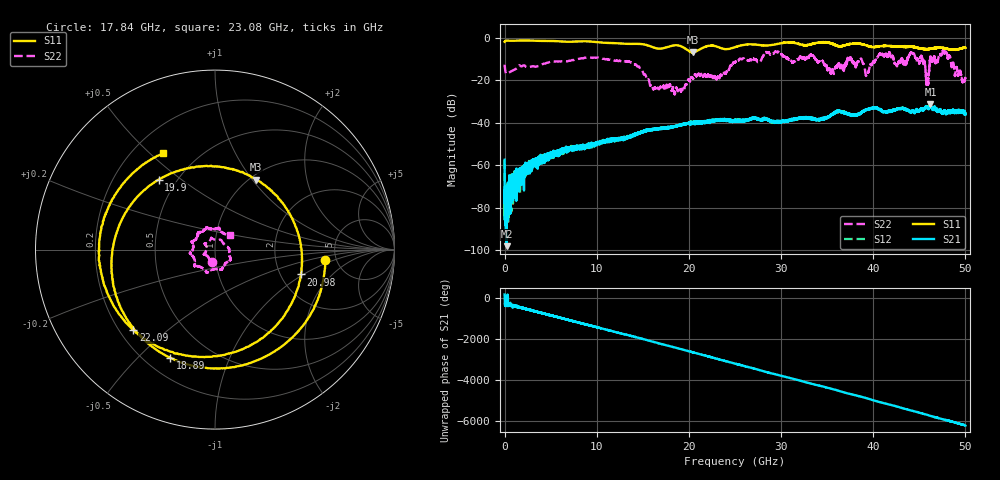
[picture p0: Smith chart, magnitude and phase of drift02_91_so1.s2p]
!Created with skrf (http://scikit-rf.org).
# Hz S RI R 50.0
!freq ReS11 ImS11 ReS21 ImS21 ReS12 ImS12 ReS22 ImS22
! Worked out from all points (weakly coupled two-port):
!   10001 points, 300 kHz to 50 GHz, reference 50 ohm
!   highest |S21| = -31.32 dB at 46.21 GHz (marker M1); lowest = -98.0 dB at 220.3 MHz (marker M2)
!   lowest |S11| = -6.9 dB at 20.4 GHz (marker M3), VSWR 2.65, Z = 53.3 + j52.2 ohm
!   |S11| at or under -10 dB: nowhere
!   |S22| runs from -26.7 to -6.0 dB; largest |S21 - S12| = 0.0031
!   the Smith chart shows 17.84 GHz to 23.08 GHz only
!   S11 on the Smith chart (normalised r, x): 17.84 GHz: 4.08, -0.76; 18.89 GHz: 0.30, -0.62; 19.9 GHz: 0.40, +0.41; 20.98 GHz: 2.58, -0.95; 22.09 GHz: 0.26, -0.39; 23.08 GHz: 0.32, +0.55
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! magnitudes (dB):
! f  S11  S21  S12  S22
! 300 kHz  -2.0  -57.4  -57.7  -12.7
! 220.3 MHz  -1.4  -98.0  -70.2  -17.0
! 3.145 GHz  -1.4  -60.4  -59.3  -13.4
! 8.335 GHz  -1.7  -51.9  -52.1  -9.7
! 13.71 GHz  -2.9  -46.1  -46.2  -11.7
! 16.67 GHz  -5.2  -42.8  -42.9  -23.8
! 17.84 GHz  -4.2  -42.4  -42.2  -22.9
! 18.89 GHz  -3.7  -41.3  -41.3  -23.9
! 19.9 GHz  -6.0  -40.3  -40.4  -20.0
! 20.4 GHz  -6.9  -40.2  -40.4  -19.1
! 20.98 GHz  -6.1  -40.0  -40.2  -16.9
! 22.09 GHz  -3.9  -39.7  -39.7  -17.6
! 23.08 GHz  -4.3  -38.6  -38.5  -18.6
! 25 GHz  -4.5  -39.0  -39.0  -11.6
! 33.34 GHz  -3.1  -38.3  -38.1  -8.3
! 39.33 GHz  -3.8  -33.7  -33.7  -16.7
! 41.67 GHz  -3.9  -34.8  -34.8  -7.6
! 44.26 GHz  -4.3  -34.7  -34.6  -7.4
! 45.87 GHz  -5.4  -33.3  -33.3  -20.8
! 46.21 GHz  -5.3  -31.3  -31.9  -9.5
! 47.75 GHz  -5.0  -34.7  -34.8  -7.1
! 50 GHz  -4.7  -36.0  -35.9  -18.5
